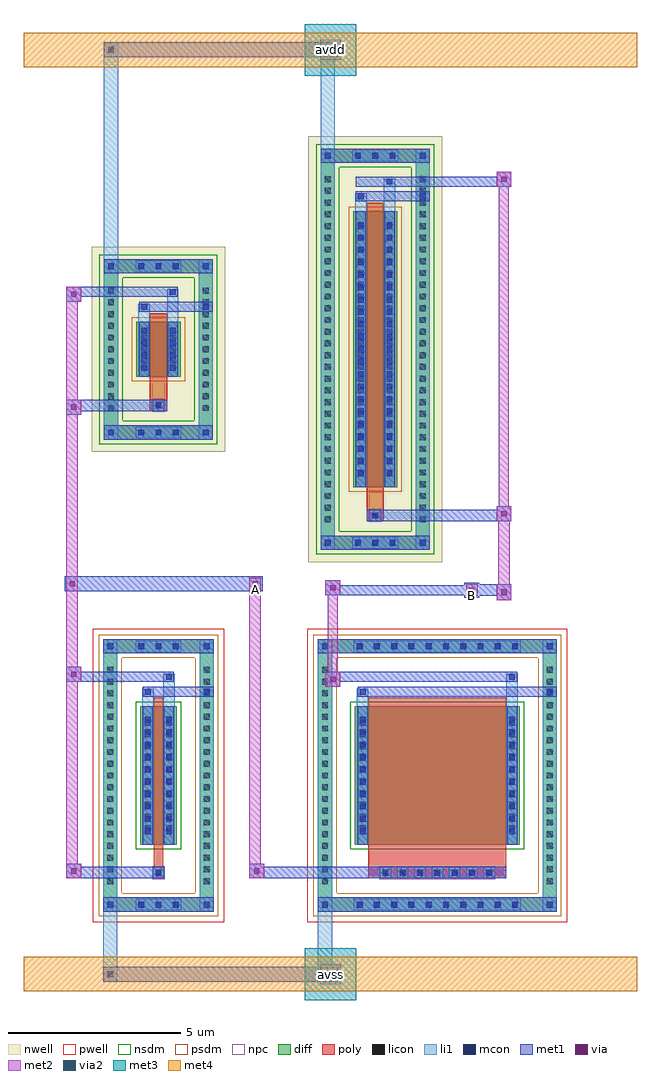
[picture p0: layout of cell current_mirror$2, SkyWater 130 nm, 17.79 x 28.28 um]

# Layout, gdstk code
import gdstk
lib = gdstk.Library(unit=1e-6, precision=5e-09)
def R(c, l, rs):  # rectangles x0, y0, x1, y1
    for r in rs: c.add(gdstk.rectangle(r[:2], r[2:], *l))
def A(c, l, x, y, w, h, nx, ny, dx, dy):  # array of equal rectangles
    R(c, l, [(x+i*dx, y+j*dy, x+i*dx+w, y+j*dy+h) for i in range(nx) for j in range(ny)])
def P(c, l, *ps):  # polygons
    for p in ps: c.add(gdstk.Polygon(p, *l))
nwell = (64, 20)
pwell = (64, 44)
diff = (65, 20)
poly = (66, 20)
licon = (66, 44)
li1 = (67, 20)
mcon = (67, 44)
met1 = (68, 20)
via = (68, 44)
met2 = (69, 20)
via2 = (69, 44)
met3 = (70, 20)
met4 = (71, 20)
nsdm = (93, 44)
psdm = (94, 20)
npc = (95, 20)

m1_1 = lib.new_cell('M1$1')
R(m1_1, pwell, [(-1.91,-4.255,1.91,4.255)])
A(m1_1, diff, -0.705, -3.945, 0.41, 0.41, 3, 2, 0.5, 7.48)
A(m1_1, diff, -1.6, -3.265, 0.41, 0.41, 1, 19, 0, 0.34)
A(m1_1, diff, 1.19, -3.265, 0.41, 0.41, 1, 19, 0, 0.34)
R(m1_1, diff, [(-0.705,-3.945,0.705,-3.535), (-1.6,-3.265,-1.19,3.265), (1.19,-3.265,1.6,3.265), (-0.53,-2,0.53,2), (-0.705,3.535,0.705,3.945)])
P(m1_1, diff, [(1.6,3.945),(-1.6,3.945),(-1.6,-3.535),(-1.19,-3.535),(-1.19,3.535),(1.19,3.535),(1.19,-3.535),(-1.19,-3.535),(-1.6,-3.535),(-1.6,-3.945),(1.6,-3.945)])
R(m1_1, poly, [(-0.165,-2.98,0.165,-2.65), (-0.165,-2.98,0.165,-2.65), (-0.14,-2.65,0.14,-2.25), (-0.14,-2.25,0.14,2.25)])
A(m1_1, licon, -0.585, -3.825, 0.17, 0.17, 3, 2, 0.5, 7.48)
A(m1_1, licon, -1.48, -3.145, 0.17, 0.17, 1, 19, 0, 0.34)
A(m1_1, licon, 1.31, -3.145, 0.17, 0.17, 1, 19, 0, 0.34)
A(m1_1, licon, -0.39, -1.615, 0.17, 0.17, 1, 10, 0, 0.34)
A(m1_1, licon, 0.22, -1.615, 0.17, 0.17, 1, 10, 0, 0.34)
R(m1_1, licon, [(-0.085,-2.9,0.085,-2.73)])
A(m1_1, li1, -0.665, -3.905, 0.33, 0.33, 3, 2, 0.5, 7.48)
A(m1_1, li1, -1.56, -3.225, 0.33, 0.33, 1, 19, 0, 0.34)
A(m1_1, li1, 1.23, -3.225, 0.33, 0.33, 1, 19, 0, 0.34)
A(m1_1, li1, -0.39, -1.705, 0.17, 0.17, 1, 10, 0, 0.36)
A(m1_1, li1, 0.22, -1.705, 0.17, 0.17, 1, 10, 0, 0.36)
A(m1_1, li1, -0.47, -1.695, 0.33, 0.33, 1, 10, 0, 0.34)
A(m1_1, li1, 0.14, -1.695, 0.33, 0.33, 1, 10, 0, 0.34)
R(m1_1, li1, [(-1.6,-3.945,-1.19,-3.535), (1.19,-3.945,1.6,-3.535), (-0.665,-3.905,0.665,-3.575), (-1.48,-3.825,-1.31,-3.655), (-1.48,-3.825,-1.31,-3.655), (1.31,-3.825,1.48,-3.655), (1.31,-3.825,1.48,-3.655), (-1.6,-3.535,-1.19,3.535), (1.19,-3.535,1.6,3.535), (-0.165,-2.98,0.165,-2.65), (-0.47,-2,-0.14,2), (0.14,-2,0.47,2), (-0.39,-1.705,-0.22,1.705), (0.22,-1.705,0.39,1.705), (-0.47,2,-0.14,2.515), (0.14,2,0.47,2.945), (-0.39,2.345,-0.22,2.515), (0.22,2.775,0.39,2.945), (-1.6,3.535,-1.19,3.945), (1.19,3.535,1.6,3.945), (-0.665,3.575,0.665,3.905), (-1.48,3.655,-1.31,3.825), (-1.48,3.655,-1.31,3.825), (1.31,3.655,1.48,3.825), (1.31,3.655,1.48,3.825)])
A(m1_1, mcon, -0.585, -3.825, 0.17, 0.17, 3, 2, 0.5, 7.48)
A(m1_1, mcon, -0.39, -1.705, 0.17, 0.17, 1, 10, 0, 0.36)
A(m1_1, mcon, 0.22, -1.705, 0.17, 0.17, 1, 10, 0, 0.36)
R(m1_1, mcon, [(-1.48,-3.825,-1.31,-3.655), (1.31,-3.825,1.48,-3.655), (-0.085,-2.9,0.085,-2.73), (-0.39,2.345,-0.22,2.515), (0.22,2.775,0.39,2.945), (-1.48,3.655,-1.31,3.825), (1.31,3.655,1.48,3.825)])
A(m1_1, met1, -0.645, -3.885, 0.29, 0.29, 3, 2, 0.5, 7.48)
A(m1_1, met1, -0.45, -1.765, 0.29, 0.29, 1, 10, 0, 0.36)
A(m1_1, met1, 0.16, -1.765, 0.29, 0.29, 1, 10, 0, 0.36)
R(m1_1, met1, [(-1.6,-3.945,-1.19,-3.535), (-1.6,-3.945,-1.19,-3.535), (-1.19,-3.945,1.19,-3.535), (1.19,-3.945,1.6,-3.535), (1.19,-3.945,1.6,-3.535), (-1.54,-3.885,-1.25,-3.595), (1.25,-3.885,1.54,-3.595), (-0.165,-2.98,0.165,-2.65), (-0.145,-2.96,0.145,-2.67), (-0.45,-2,-0.16,2), (0.16,-2,0.45,2), (-0.45,2.285,-0.16,2.575), (-0.45,2.285,0.45,2.575), (-0.45,2.715,0.45,3.005), (0.16,2.715,0.45,3.005), (-1.6,3.535,-1.19,3.945), (-1.6,3.535,-1.19,3.945), (-1.19,3.535,1.19,3.945), (1.19,3.535,1.6,3.945), (1.19,3.535,1.6,3.945), (-1.54,3.595,-1.25,3.885), (1.25,3.595,1.54,3.885)])
R(m1_1, nsdm, [(-0.66,-2.13,0.66,2.13)])
P(m1_1, psdm, [(1.73,4.075),(-1.73,4.075),(-1.73,-3.405),(-1.06,-3.405),(-1.06,3.405),(1.06,3.405),(1.06,-3.405),(-1.06,-3.405),(-1.73,-3.405),(-1.73,-4.075),(1.73,-4.075)])
R(m1_1, npc, [(-0.185,-3,0.185,-2.63), (-0.185,-3,0.185,-2.63)])

m2_1 = lib.new_cell('M2$1')
R(m2_1, pwell, [(-3.77,-4.255,3.77,4.255)])
A(m2_1, diff, -2.455, -3.945, 0.41, 0.41, 10, 2, 0.5, 7.48)
A(m2_1, diff, -3.46, -3.265, 0.41, 0.41, 1, 19, 0, 0.34)
A(m2_1, diff, 3.05, -3.265, 0.41, 0.41, 1, 19, 0, 0.34)
R(m2_1, diff, [(-2.455,-3.945,2.455,-3.535), (-3.46,-3.265,-3.05,3.265), (3.05,-3.265,3.46,3.265), (-2.39,-2,2.39,2), (-2.455,3.535,2.455,3.945)])
P(m2_1, diff, [(3.46,3.945),(-3.46,3.945),(-3.46,-3.535),(-3.05,-3.535),(-3.05,3.535),(3.05,3.535),(3.05,-3.535),(-3.05,-3.535),(-3.46,-3.535),(-3.46,-3.945),(3.46,-3.945)])
A(m2_1, poly, -1.665, -2.98, 0.33, 0.33, 7, 1, 0.5, 0)
R(m2_1, poly, [(-2,-2.98,2,-2.65), (-2,-2.65,2,-2.25), (-2,-2.25,2,2.25)])
A(m2_1, licon, -2.335, -3.825, 0.17, 0.17, 10, 2, 0.5, 7.48)
A(m2_1, licon, -3.34, -3.145, 0.17, 0.17, 1, 19, 0, 0.34)
A(m2_1, licon, 3.17, -3.145, 0.17, 0.17, 1, 19, 0, 0.34)
A(m2_1, licon, -1.585, -2.9, 0.17, 0.17, 7, 1, 0.5, 0)
A(m2_1, licon, -2.25, -1.615, 0.17, 0.17, 1, 10, 0, 0.34)
A(m2_1, licon, 2.08, -1.615, 0.17, 0.17, 1, 10, 0, 0.34)
A(m2_1, li1, -2.415, -3.905, 0.33, 0.33, 10, 2, 0.5, 7.48)
A(m2_1, li1, -3.42, -3.225, 0.33, 0.33, 1, 19, 0, 0.34)
A(m2_1, li1, 3.09, -3.225, 0.33, 0.33, 1, 19, 0, 0.34)
A(m2_1, li1, -1.665, -2.98, 0.33, 0.33, 7, 1, 0.5, 0)
A(m2_1, li1, -2.25, -1.705, 0.17, 0.17, 1, 10, 0, 0.36)
A(m2_1, li1, 2.08, -1.705, 0.17, 0.17, 1, 10, 0, 0.36)
A(m2_1, li1, -2.33, -1.695, 0.33, 0.33, 1, 10, 0, 0.34)
A(m2_1, li1, 2, -1.695, 0.33, 0.33, 1, 10, 0, 0.34)
R(m2_1, li1, [(-3.46,-3.945,-3.05,-3.535), (3.05,-3.945,3.46,-3.535), (-2.415,-3.905,2.415,-3.575), (-3.34,-3.825,-3.17,-3.655), (-3.34,-3.825,-3.17,-3.655), (3.17,-3.825,3.34,-3.655), (3.17,-3.825,3.34,-3.655), (-3.46,-3.535,-3.05,3.535), (3.05,-3.535,3.46,3.535), (-2.33,-2,-2,2), (2,-2,2.33,2), (-2.25,-1.705,-2.08,1.705), (2.08,-1.705,2.25,1.705), (-2.33,2,-2,2.515), (2,2,2.33,2.945), (-2.25,2.345,-2.08,2.515), (2.08,2.775,2.25,2.945), (-3.46,3.535,-3.05,3.945), (3.05,3.535,3.46,3.945), (-2.415,3.575,2.415,3.905), (-3.34,3.655,-3.17,3.825), (-3.34,3.655,-3.17,3.825), (3.17,3.655,3.34,3.825), (3.17,3.655,3.34,3.825)])
A(m2_1, mcon, -2.335, -3.825, 0.17, 0.17, 10, 2, 0.5, 7.48)
A(m2_1, mcon, -1.585, -2.9, 0.17, 0.17, 7, 1, 0.5, 0)
A(m2_1, mcon, -2.25, -1.705, 0.17, 0.17, 1, 10, 0, 0.36)
A(m2_1, mcon, 2.08, -1.705, 0.17, 0.17, 1, 10, 0, 0.36)
R(m2_1, mcon, [(-3.34,-3.825,-3.17,-3.655), (3.17,-3.825,3.34,-3.655), (-2.25,2.345,-2.08,2.515), (2.08,2.775,2.25,2.945), (-3.34,3.655,-3.17,3.825), (3.17,3.655,3.34,3.825)])
A(m2_1, met1, -2.395, -3.885, 0.29, 0.29, 10, 2, 0.5, 7.48)
A(m2_1, met1, -1.645, -2.96, 0.29, 0.29, 7, 1, 0.5, 0)
A(m2_1, met1, -2.31, -1.765, 0.29, 0.29, 1, 10, 0, 0.36)
A(m2_1, met1, 2.02, -1.765, 0.29, 0.29, 1, 10, 0, 0.36)
R(m2_1, met1, [(-3.46,-3.945,-3.05,-3.535), (-3.46,-3.945,-3.05,-3.535), (-3.05,-3.945,3.05,-3.535), (3.05,-3.945,3.46,-3.535), (3.05,-3.945,3.46,-3.535), (-3.4,-3.885,-3.11,-3.595), (3.11,-3.885,3.4,-3.595), (-2,-2.98,2,-2.65), (-2.31,-2,-2.02,2), (2.02,-2,2.31,2), (-2.31,2.285,-2.02,2.575), (-2.31,2.285,2.31,2.575), (-2.31,2.715,2.31,3.005), (2.02,2.715,2.31,3.005), (-3.46,3.535,-3.05,3.945), (-3.46,3.535,-3.05,3.945), (-3.05,3.535,3.05,3.945), (3.05,3.535,3.46,3.945), (3.05,3.535,3.46,3.945), (-3.4,3.595,-3.11,3.885), (3.11,3.595,3.4,3.885)])
R(m2_1, nsdm, [(-2.52,-2.13,2.52,2.13)])
P(m2_1, psdm, [(3.59,4.075),(-3.59,4.075),(-3.59,-3.405),(-2.92,-3.405),(-2.92,3.405),(2.92,3.405),(2.92,-3.405),(-2.92,-3.405),(-3.59,-3.405),(-3.59,-4.075),(3.59,-4.075)])
A(m2_1, npc, -1.685, -3, 0.37, 0.37, 7, 1, 0.5, 0)
R(m2_1, npc, [(-1.685,-3,-0.815,-2.63), (-1.685,-3,-0.815,-2.63), (-1.185,-3,-0.315,-2.63), (-1.185,-3,-0.315,-2.63), (-0.685,-3,0.185,-2.63), (-0.685,-3,0.185,-2.63), (-0.185,-3,0.685,-2.63), (-0.185,-3,0.685,-2.63), (0.315,-3,1.185,-2.63), (0.315,-3,1.185,-2.63), (0.815,-3,1.685,-2.63), (0.815,-3,1.685,-2.63)])

m3_1 = lib.new_cell('M3$1')
R(m3_1, nwell, [(-1.94,-6.175,1.94,6.175), (-1.76,-5.995,1.76,5.995)])
A(m3_1, diff, -0.705, -5.815, 0.41, 0.41, 3, 2, 0.5, 11.22)
A(m3_1, diff, -1.58, -5.135, 0.41, 0.41, 1, 30, 0, 0.34)
A(m3_1, diff, 1.17, -5.135, 0.41, 0.41, 1, 30, 0, 0.34)
R(m3_1, diff, [(-0.705,-5.815,0.705,-5.405), (-1.58,-5.135,-1.17,5.135), (1.17,-5.135,1.58,5.135), (-0.64,-4,0.64,4), (-0.705,5.405,0.705,5.815)])
P(m3_1, diff, [(1.58,5.815),(-1.58,5.815),(-1.58,-5.405),(-1.17,-5.405),(-1.17,5.405),(1.17,5.405),(1.17,-5.405),(-1.17,-5.405),(-1.58,-5.405),(-1.58,-5.815),(1.58,-5.815)])
R(m3_1, poly, [(-0.25,-4.98,0.25,-4.65), (-0.165,-4.98,0.165,-4.65), (-0.25,-4.65,0.25,-4.25), (-0.25,-4.25,0.25,4.25)])
A(m3_1, licon, -0.585, -5.695, 0.17, 0.17, 3, 2, 0.5, 11.22)
A(m3_1, licon, -1.46, -5.015, 0.17, 0.17, 1, 30, 0, 0.34)
A(m3_1, licon, 1.29, -5.015, 0.17, 0.17, 1, 30, 0, 0.34)
A(m3_1, licon, -0.5, -3.655, 0.17, 0.17, 1, 22, 0, 0.34)
A(m3_1, licon, 0.33, -3.655, 0.17, 0.17, 1, 22, 0, 0.34)
R(m3_1, licon, [(-0.085,-4.9,0.085,-4.73)])
A(m3_1, li1, -0.665, -5.775, 0.33, 0.33, 3, 2, 0.5, 11.22)
A(m3_1, li1, -1.54, -5.095, 0.33, 0.33, 1, 30, 0, 0.34)
A(m3_1, li1, 1.21, -5.095, 0.33, 0.33, 1, 30, 0, 0.34)
A(m3_1, li1, -0.58, -3.735, 0.33, 0.33, 1, 22, 0, 0.34)
A(m3_1, li1, 0.25, -3.735, 0.33, 0.33, 1, 22, 0, 0.34)
A(m3_1, li1, -0.5, -3.685, 0.17, 0.17, 1, 21, 0, 0.36)
A(m3_1, li1, 0.33, -3.685, 0.17, 0.17, 1, 21, 0, 0.36)
R(m3_1, li1, [(-1.58,-5.815,-1.17,-5.405), (1.17,-5.815,1.58,-5.405), (-0.665,-5.775,0.665,-5.445), (-1.46,-5.695,-1.29,-5.525), (-1.46,-5.695,-1.29,-5.525), (1.29,-5.695,1.46,-5.525), (1.29,-5.695,1.46,-5.525), (-1.58,-5.405,-1.17,5.405), (1.17,-5.405,1.58,5.405), (-0.165,-4.98,0.165,-4.65), (-0.58,-4,-0.25,4), (0.25,-4,0.58,4), (-0.5,-3.685,-0.33,3.685), (0.33,-3.685,0.5,3.685), (-0.58,4,-0.25,4.515), (0.25,4,0.58,4.945), (-0.5,4.345,-0.33,4.515), (0.33,4.775,0.5,4.945), (-1.58,5.405,-1.17,5.815), (1.17,5.405,1.58,5.815), (-0.665,5.445,0.665,5.775), (-1.46,5.525,-1.29,5.695), (-1.46,5.525,-1.29,5.695), (1.29,5.525,1.46,5.695), (1.29,5.525,1.46,5.695)])
A(m3_1, mcon, -0.585, -5.695, 0.17, 0.17, 3, 2, 0.5, 11.22)
A(m3_1, mcon, -0.5, -3.685, 0.17, 0.17, 1, 21, 0, 0.36)
A(m3_1, mcon, 0.33, -3.685, 0.17, 0.17, 1, 21, 0, 0.36)
R(m3_1, mcon, [(-1.46,-5.695,-1.29,-5.525), (1.29,-5.695,1.46,-5.525), (-0.085,-4.9,0.085,-4.73), (-0.5,4.345,-0.33,4.515), (0.33,4.775,0.5,4.945), (-1.46,5.525,-1.29,5.695), (1.29,5.525,1.46,5.695)])
A(m3_1, met1, -0.645, -5.755, 0.29, 0.29, 3, 2, 0.5, 11.22)
A(m3_1, met1, -0.56, -3.745, 0.29, 0.29, 1, 21, 0, 0.36)
A(m3_1, met1, 0.27, -3.745, 0.29, 0.29, 1, 21, 0, 0.36)
R(m3_1, met1, [(-1.58,-5.815,-1.17,-5.405), (-1.58,-5.815,-1.17,-5.405), (-1.17,-5.815,1.17,-5.405), (1.17,-5.815,1.58,-5.405), (1.17,-5.815,1.58,-5.405), (-1.52,-5.755,-1.23,-5.465), (1.23,-5.755,1.52,-5.465), (-0.25,-4.98,0.25,-4.65), (-0.145,-4.96,0.145,-4.67), (-0.56,-4,-0.27,4), (0.27,-4,0.56,4), (-0.56,4.285,-0.27,4.575), (-0.56,4.285,0.56,4.575), (-0.56,4.715,0.56,5.005), (0.27,4.715,0.56,5.005), (-1.58,5.405,-1.17,5.815), (-1.58,5.405,-1.17,5.815), (-1.17,5.405,1.17,5.815), (1.17,5.405,1.58,5.815), (1.17,5.405,1.58,5.815), (-1.52,5.465,-1.23,5.755), (1.23,5.465,1.52,5.755)])
P(m3_1, nsdm, [(1.71,5.945),(-1.71,5.945),(-1.71,-5.275),(-1.04,-5.275),(-1.04,5.275),(1.04,5.275),(1.04,-5.275),(-1.04,-5.275),(-1.71,-5.275),(-1.71,-5.945),(1.71,-5.945)])
R(m3_1, psdm, [(-0.77,-4.13,0.77,4.13)])
R(m3_1, npc, [(-0.185,-5,0.185,-4.63), (-0.185,-5,0.185,-4.63)])

m4_1 = lib.new_cell('M4$1')
R(m4_1, nwell, [(-1.94,-2.975,1.94,2.975), (-1.76,-2.795,1.76,2.795)])
A(m4_1, diff, -0.705, -2.615, 0.41, 0.41, 3, 2, 0.5, 4.82)
A(m4_1, diff, -1.58, -1.905, 0.41, 0.41, 1, 11, 0, 0.34)
A(m4_1, diff, 1.17, -1.905, 0.41, 0.41, 1, 11, 0, 0.34)
R(m4_1, diff, [(-0.705,-2.615,0.705,-2.205), (-1.58,-1.905,-1.17,1.905), (1.17,-1.905,1.58,1.905), (-0.64,-0.8,0.64,0.8), (-0.705,2.205,0.705,2.615)])
P(m4_1, diff, [(1.58,2.615),(-1.58,2.615),(-1.58,-2.205),(-1.17,-2.205),(-1.17,2.205),(1.17,2.205),(1.17,-2.205),(-1.17,-2.205),(-1.58,-2.205),(-1.58,-2.615),(1.58,-2.615)])
R(m4_1, poly, [(-0.25,-1.79,0.25,-1.46), (-0.165,-1.79,0.165,-1.46), (-0.25,-1.46,0.25,-1.05), (-0.25,-1.05,0.25,1.05)])
A(m4_1, licon, -0.585, -2.495, 0.17, 0.17, 3, 2, 0.5, 4.82)
A(m4_1, licon, -1.46, -1.785, 0.17, 0.17, 1, 11, 0, 0.34)
A(m4_1, licon, 1.29, -1.785, 0.17, 0.17, 1, 11, 0, 0.34)
A(m4_1, licon, -0.5, -0.425, 0.17, 0.17, 1, 3, 0, 0.34)
A(m4_1, licon, 0.33, -0.425, 0.17, 0.17, 1, 3, 0, 0.34)
R(m4_1, licon, [(-0.085,-1.71,0.085,-1.54)])
A(m4_1, li1, -0.665, -2.575, 0.33, 0.33, 3, 2, 0.5, 4.82)
A(m4_1, li1, -1.54, -1.865, 0.33, 0.33, 1, 11, 0, 0.34)
A(m4_1, li1, 1.21, -1.865, 0.33, 0.33, 1, 11, 0, 0.34)
A(m4_1, li1, -0.5, -0.625, 0.17, 0.17, 1, 4, 0, 0.36)
A(m4_1, li1, 0.33, -0.625, 0.17, 0.17, 1, 4, 0, 0.36)
A(m4_1, li1, -0.58, -0.505, 0.33, 0.33, 1, 3, 0, 0.34)
A(m4_1, li1, 0.25, -0.505, 0.33, 0.33, 1, 3, 0, 0.34)
R(m4_1, li1, [(-1.58,-2.615,-1.17,-2.205), (1.17,-2.615,1.58,-2.205), (-0.665,-2.575,0.665,-2.245), (-1.46,-2.495,-1.29,-2.325), (-1.46,-2.495,-1.29,-2.325), (1.29,-2.495,1.46,-2.325), (1.29,-2.495,1.46,-2.325), (-1.58,-2.205,-1.17,2.205), (1.17,-2.205,1.58,2.205), (-0.165,-1.79,0.165,-1.46), (-0.58,-0.8,-0.25,0.8), (0.25,-0.8,0.58,0.8), (-0.5,-0.625,-0.33,0.625), (0.33,-0.625,0.5,0.625), (-0.58,0.8,-0.25,1.315), (0.25,0.8,0.58,1.745), (-0.5,1.145,-0.33,1.315), (0.33,1.575,0.5,1.745), (-1.58,2.205,-1.17,2.615), (1.17,2.205,1.58,2.615), (-0.665,2.245,0.665,2.575), (-1.46,2.325,-1.29,2.495), (-1.46,2.325,-1.29,2.495), (1.29,2.325,1.46,2.495), (1.29,2.325,1.46,2.495)])
A(m4_1, mcon, -0.585, -2.495, 0.17, 0.17, 3, 2, 0.5, 4.82)
A(m4_1, mcon, -0.5, -0.625, 0.17, 0.17, 1, 4, 0, 0.36)
A(m4_1, mcon, 0.33, -0.625, 0.17, 0.17, 1, 4, 0, 0.36)
R(m4_1, mcon, [(-1.46,-2.495,-1.29,-2.325), (1.29,-2.495,1.46,-2.325), (-0.085,-1.71,0.085,-1.54), (-0.5,1.145,-0.33,1.315), (0.33,1.575,0.5,1.745), (-1.46,2.325,-1.29,2.495), (1.29,2.325,1.46,2.495)])
A(m4_1, met1, -0.645, -2.555, 0.29, 0.29, 3, 2, 0.5, 4.82)
A(m4_1, met1, -0.56, -0.685, 0.29, 0.29, 1, 4, 0, 0.36)
A(m4_1, met1, 0.27, -0.685, 0.29, 0.29, 1, 4, 0, 0.36)
R(m4_1, met1, [(-1.58,-2.615,-1.17,-2.205), (-1.58,-2.615,-1.17,-2.205), (-1.17,-2.615,1.17,-2.205), (1.17,-2.615,1.58,-2.205), (1.17,-2.615,1.58,-2.205), (-1.52,-2.555,-1.23,-2.265), (1.23,-2.555,1.52,-2.265), (-0.25,-1.79,0.25,-1.46), (-0.145,-1.77,0.145,-1.48), (-0.56,-0.8,-0.27,0.8), (0.27,-0.8,0.56,0.8), (-0.56,1.085,-0.27,1.375), (-0.56,1.085,0.56,1.375), (-0.56,1.515,0.56,1.805), (0.27,1.515,0.56,1.805), (-1.58,2.205,-1.17,2.615), (-1.58,2.205,-1.17,2.615), (-1.17,2.205,1.17,2.615), (1.17,2.205,1.58,2.615), (1.17,2.205,1.58,2.615), (-1.52,2.265,-1.23,2.555), (1.23,2.265,1.52,2.555)])
P(m4_1, nsdm, [(1.71,2.745),(-1.71,2.745),(-1.71,-2.075),(-1.04,-2.075),(-1.04,2.075),(1.04,2.075),(1.04,-2.075),(-1.04,-2.075),(-1.71,-2.075),(-1.71,-2.745),(1.71,-2.745)])
R(m4_1, psdm, [(-0.77,-0.93,0.77,0.93)])
R(m4_1, npc, [(-0.185,-1.81,0.185,-1.44), (-0.185,-1.81,0.185,-1.44)])

compass_b18295a6 = lib.new_cell('compass_b18295a6')
R(compass_b18295a6, met4, [(-8.895,-0.5,8.895,0.5)])

rectangle_b18295a6 = lib.new_cell('rectangle_b18295a6')
rectangle_b18295a6.add(gdstk.Reference(compass_b18295a6, (8.895,0.5)))

compass_b18295a6_1 = lib.new_cell('compass_b18295a6$1')
R(compass_b18295a6_1, met4, [(-8.895,-0.5,8.895,0.5)])

rectangle_b18295a6_1 = lib.new_cell('rectangle_b18295a6$1')
rectangle_b18295a6_1.add(gdstk.Reference(compass_b18295a6_1, (8.895,0.5)))

via_stack_cebb057a = lib.new_cell('via_stack_cebb057a')
R(via_stack_cebb057a, met1, [(-0.215,-0.215,0.215,0.215)])
R(via_stack_cebb057a, via, [(-0.075,-0.075,0.075,0.075)])
R(via_stack_cebb057a, met2, [(-0.29,-0.29,0.29,0.29)])
R(via_stack_cebb057a, via2, [(-0.1,-0.1,0.1,0.1)])
R(via_stack_cebb057a, met3, [(-0.75,-0.75,0.75,0.75)])

via_stack_bd94b783 = lib.new_cell('via_stack_bd94b783')
R(via_stack_bd94b783, met1, [(-0.215,-0.215,0.215,0.215)])
R(via_stack_bd94b783, via, [(-0.075,-0.075,0.075,0.075)])
R(via_stack_bd94b783, met2, [(-0.165,-0.165,0.165,0.165)])

l_route_2b0fff95 = lib.new_cell('L_route_2b0fff95')
R(l_route_2b0fff95, li1, [(2.33,21.06,2.74,27.745), (2.45,27.445,2.62,27.615), (2.45,27.445,2.62,27.615)])
R(l_route_2b0fff95, mcon, [(2.45,27.445,2.62,27.615)])
R(l_route_2b0fff95, met1, [(2.33,27.315,8.68,27.745), (2.33,27.315,2.74,27.745), (2.39,27.385,2.68,27.675)])

l_route_104b982e = lib.new_cell('L_route_104b982e')
R(l_route_104b982e, li1, [(8.61,24.26,9.02,27.745), (8.73,27.445,8.9,27.615), (8.73,27.445,8.9,27.615)])
R(l_route_104b982e, mcon, [(8.73,27.445,8.9,27.615)])
R(l_route_104b982e, met1, [(8.61,27.315,9.02,27.745), (8.68,27.315,9.02,27.745), (8.67,27.385,8.96,27.675)])

l_route_90a81f03 = lib.new_cell('L_route_90a81f03')
R(l_route_90a81f03, li1, [(2.31,0.535,2.72,2.97), (2.43,0.665,2.6,0.835), (2.43,0.665,2.6,0.835)])
R(l_route_90a81f03, mcon, [(2.43,0.665,2.6,0.835)])
R(l_route_90a81f03, met1, [(2.31,0.535,8.68,0.965), (2.31,0.535,2.72,0.965), (2.37,0.605,2.66,0.895)])

l_route_3b770cc7 = lib.new_cell('L_route_3b770cc7')
R(l_route_3b770cc7, li1, [(8.53,0.535,8.94,2.97), (8.65,0.665,8.82,0.835), (8.65,0.665,8.82,0.835)])
R(l_route_3b770cc7, mcon, [(8.65,0.665,8.82,0.835)])
R(l_route_3b770cc7, met1, [(8.53,0.535,8.94,0.965), (8.68,0.535,8.94,0.965), (8.59,0.605,8.88,0.895)])

l_route_223d6fc8 = lib.new_cell('L_route_223d6fc8')
R(l_route_223d6fc8, li1, [(5.08,19.94,5.49,21.06), (5.2,20,5.37,20.17), (5.2,20,5.37,20.17)])
R(l_route_223d6fc8, mcon, [(5.2,20,5.37,20.17)])
R(l_route_223d6fc8, met1, [(4.47,19.94,5.49,20.23), (5.08,19.94,5.49,20.23), (5.14,19.94,5.43,20.23)])

l_route_0b0dfaab = lib.new_cell('L_route_0b0dfaab')
R(l_route_0b0dfaab, li1, [(11.36,23.14,11.77,24.26), (11.48,23.2,11.65,23.37), (11.48,23.2,11.65,23.37)])
R(l_route_0b0dfaab, mcon, [(11.48,23.2,11.65,23.37)])
R(l_route_0b0dfaab, met1, [(10.75,23.14,11.77,23.43), (11.36,23.14,11.77,23.43), (11.42,23.14,11.71,23.43)])

l_route_3f4d5387 = lib.new_cell('L_route_3f4d5387')
R(l_route_3f4d5387, li1, [(5.1,8.79,5.51,10.04), (5.22,8.85,5.39,9.02), (5.22,8.85,5.39,9.02)])
R(l_route_3f4d5387, mcon, [(5.22,8.85,5.39,9.02)])
R(l_route_3f4d5387, met1, [(4.36,8.79,5.51,9.08), (5.1,8.79,5.51,9.08), (5.16,8.79,5.45,9.08)])

l_route_7a249b5f = lib.new_cell('L_route_7a249b5f')
R(l_route_7a249b5f, li1, [(15.04,8.79,15.45,10.04), (15.16,8.85,15.33,9.02), (15.16,8.85,15.33,9.02)])
R(l_route_7a249b5f, mcon, [(15.16,8.85,15.33,9.02)])
R(l_route_7a249b5f, met1, [(14.3,8.79,15.45,9.08), (15.04,8.79,15.45,9.08), (15.1,8.79,15.39,9.08)])

l_route_c9f08ed0 = lib.new_cell('L_route_c9f08ed0')
R(l_route_c9f08ed0, met1, [(1.245,20.23,1.675,20.66), (1.245,20.23,1.675,20.66), (1.245,20.37,3.35,20.66)])
R(l_route_c9f08ed0, via, [(1.385,20.37,1.535,20.52)])
R(l_route_c9f08ed0, met2, [(1.245,12.23,1.575,20.66), (1.245,20.23,1.675,20.66), (1.295,20.28,1.625,20.61)])

l_route_db9b7b9e = lib.new_cell('L_route_db9b7b9e')
R(l_route_db9b7b9e, met1, [(1.245,9.22,3.46,9.51), (1.245,9.22,1.675,9.65), (1.245,9.22,1.675,9.65)])
R(l_route_db9b7b9e, via, [(1.385,9.36,1.535,9.51)])
R(l_route_db9b7b9e, met2, [(1.245,9.22,1.675,9.65), (1.245,9.22,1.575,11.9), (1.295,9.27,1.625,9.6)])

l_route_c31cecd5 = lib.new_cell('L_route_c31cecd5')
R(l_route_c31cecd5, met1, [(1.245,16.965,1.675,17.395), (1.245,16.965,1.675,17.395), (1.245,17.065,3.66,17.395)])
R(l_route_c31cecd5, via, [(1.385,17.105,1.535,17.255)])
R(l_route_c31cecd5, met2, [(1.245,12.23,1.575,17.395), (1.245,16.965,1.675,17.395), (1.295,17.015,1.625,17.345)])

l_route_62309138 = lib.new_cell('L_route_62309138')
R(l_route_62309138, met1, [(1.245,3.525,3.745,3.855), (1.245,3.525,1.675,3.955), (1.245,3.525,1.675,3.955)])
R(l_route_62309138, via, [(1.385,3.665,1.535,3.815)])
R(l_route_62309138, met2, [(1.245,3.525,1.675,3.955), (1.245,3.525,1.575,11.9), (1.295,3.575,1.625,3.905)])

straight_route_a3891c24 = lib.new_cell('straight_route_a3891c24')
R(straight_route_a3891c24, met1, [(1.195,11.85,6.925,12.28)])

l_route_55b75113 = lib.new_cell('L_route_55b75113')
R(l_route_55b75113, met1, [(6.545,3.525,9.99,3.855), (6.545,3.525,6.975,3.955), (6.545,3.525,6.975,3.955)])
R(l_route_55b75113, via, [(6.685,3.665,6.835,3.815)])
R(l_route_55b75113, met2, [(6.545,3.525,6.975,3.955), (6.545,3.525,6.875,11.9), (6.595,3.575,6.925,3.905)])

c_route_fb496159 = lib.new_cell('c_route_fb496159')
R(c_route_fb496159, met1, [(13.705,11.59,14.135,12.02), (13.205,11.73,14.135,12.02), (10.75,23.57,14.135,23.86), (13.705,23.57,14.135,24)])
R(c_route_fb496159, via, [(13.845,11.73,13.995,11.88), (13.845,23.71,13.995,23.86)])
R(c_route_fb496159, met2, [(13.705,11.59,14.135,12.02), (13.775,11.59,14.065,24), (14.065,11.59,14.135,12.02), (13.755,11.64,14.085,11.97), (13.705,23.57,14.135,24), (14.065,23.57,14.135,24), (13.755,23.62,14.085,23.95)])

c_route_89427d94 = lib.new_cell('c_route_89427d94')
R(c_route_89427d94, met1, [(13.705,11.61,14.135,12.04), (13.205,11.71,14.135,12.04), (10.44,13.875,14.135,14.205), (13.705,13.875,14.135,14.305)])
R(c_route_89427d94, via, [(13.845,11.75,13.995,11.9), (13.845,14.015,13.995,14.165)])
R(c_route_89427d94, met2, [(13.705,11.61,14.135,12.04), (13.755,11.61,14.085,14.305), (14.085,11.61,14.135,12.04), (13.755,11.66,14.085,11.99), (13.705,13.875,14.135,14.305), (14.085,13.875,14.135,14.305), (13.755,13.925,14.085,14.255)])

c_route_8c69377f = lib.new_cell('c_route_8c69377f')
R(c_route_8c69377f, met1, [(8.75,9.08,9.18,9.51), (8.75,9.22,9.68,9.51), (8.75,11.73,9.18,12.16), (8.75,11.73,12.775,12.02)])
R(c_route_8c69377f, via, [(8.89,9.22,9.04,9.37), (8.89,11.87,9.04,12.02)])
R(c_route_8c69377f, met2, [(8.75,9.08,9.18,9.51), (8.82,9.08,9.11,12.16), (9.11,9.08,9.18,9.51), (8.8,9.13,9.13,9.46), (8.75,11.73,9.18,12.16), (9.11,11.73,9.18,12.16), (8.8,11.78,9.13,12.11)])

current_mirror_2 = lib.new_cell('current_mirror$2')
current_mirror_2.add(gdstk.Reference(m1_1, (3.91,6.505)))
current_mirror_2.add(gdstk.Reference(m2_1, (11.99,6.505)))
current_mirror_2.add(gdstk.Reference(m3_1, (10.19,18.855)))
current_mirror_2.add(gdstk.Reference(m4_1, (3.91,18.855)))
current_mirror_2.add(gdstk.Reference(rectangle_b18295a6, (0,27.03)))
current_mirror_2.add(gdstk.Reference(rectangle_b18295a6_1, (0,0.25)))
current_mirror_2.add(gdstk.Reference(via_stack_cebb057a, (8.895,27.53)))
current_mirror_2.add(gdstk.Reference(via_stack_cebb057a, (8.895,0.75)))
current_mirror_2.add(gdstk.Reference(via_stack_bd94b783, (6.71,12.065)))
current_mirror_2.add(gdstk.Reference(via_stack_bd94b783, (1.41,12.065)))
current_mirror_2.add(gdstk.Reference(via_stack_bd94b783, (12.99,11.875)))
current_mirror_2.add(gdstk.Reference(l_route_2b0fff95, (0,0)))
current_mirror_2.add(gdstk.Reference(l_route_104b982e, (0,0)))
current_mirror_2.add(gdstk.Reference(l_route_90a81f03, (0,0)))
current_mirror_2.add(gdstk.Reference(l_route_3b770cc7, (0,0)))
current_mirror_2.add(gdstk.Reference(l_route_223d6fc8, (0,0)))
current_mirror_2.add(gdstk.Reference(l_route_0b0dfaab, (0,0)))
current_mirror_2.add(gdstk.Reference(l_route_3f4d5387, (0,0)))
current_mirror_2.add(gdstk.Reference(l_route_7a249b5f, (0,0)))
current_mirror_2.add(gdstk.Reference(l_route_c9f08ed0, (0,0)))
current_mirror_2.add(gdstk.Reference(l_route_db9b7b9e, (0,0)))
current_mirror_2.add(gdstk.Reference(l_route_c31cecd5, (0,0)))
current_mirror_2.add(gdstk.Reference(l_route_62309138, (0,0)))
current_mirror_2.add(gdstk.Reference(straight_route_a3891c24, (0,0)))
current_mirror_2.add(gdstk.Reference(l_route_55b75113, (0,0)))
current_mirror_2.add(gdstk.Reference(c_route_fb496159, (0,0)))
current_mirror_2.add(gdstk.Reference(c_route_89427d94, (0,0)))
current_mirror_2.add(gdstk.Reference(c_route_8c69377f, (0,0)))
current_mirror_2.add(gdstk.Label('avss', (8.895,0.75), layer=71, texttype=5))
current_mirror_2.add(gdstk.Label('avdd', (8.895,27.53), layer=71, texttype=5))
current_mirror_2.add(gdstk.Label('A', (6.71,11.9), layer=69, texttype=5))
current_mirror_2.add(gdstk.Label('B', (12.99,11.71), layer=69, texttype=5))

lib.write_gds('current_mirror_2.gds')
